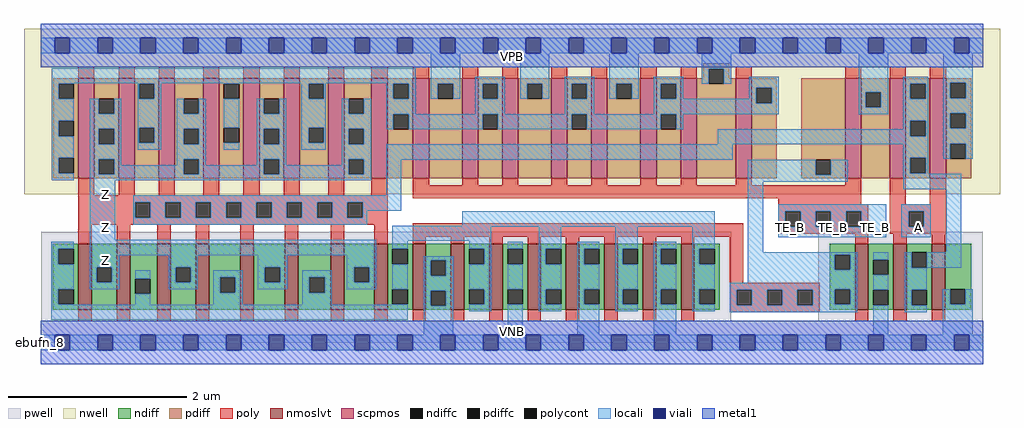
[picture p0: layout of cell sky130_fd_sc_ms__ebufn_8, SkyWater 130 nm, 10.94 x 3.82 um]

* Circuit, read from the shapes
.subckt sky130_fd_sc_ms__ebufn_8 A TE_B VGND VNB VPB VPWR Z
XM1 Z n1 n2 VNB sky130_fd_pr__nfet_01v8_lvt w=0.74 l=0.15 m=8
XM2 VGND n3 n2 VNB sky130_fd_pr__nfet_01v8_lvt w=0.74 l=0.15 m=8
XM3 VGND TE_B n3 VNB sky130_fd_pr__nfet_01v8_lvt w=0.74 l=0.15
XM4 n1 A VGND VNB sky130_fd_pr__nfet_01v8_lvt w=0.74 l=0.15 m=2
XM5 Z n1 n4 VPB sky130_fd_pr__pfet_01v8 w=1.12 l=0.18 m=8
XM6 VPWR TE_B n4 VPB sky130_fd_pr__pfet_01v8 w=1.12 l=0.18 m=8
XM7 VPWR TE_B n3 VPB sky130_fd_pr__pfet_01v8 w=1.12 l=0.18
XM8 n1 A VPWR VPB sky130_fd_pr__pfet_01v8 w=1.12 l=0.18 m=2
.ends

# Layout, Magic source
magic
tech sky130A
magscale 1 2
<< nwell >>
rect -38 332 2150 704
<< pwell >>
rect 1 49 1548 248
rect 1742 49 2111 248
rect 0 0 2112 49
<< scpmos >>
rect 84 368 120 592
rect 174 368 210 592
rect 264 368 300 592
rect 364 368 400 592
rect 454 368 490 592
rect 544 368 580 592
rect 644 368 680 592
rect 741 368 777 592
rect 834 368 870 592
rect 944 368 980 592
rect 1034 368 1070 592
rect 1144 368 1180 592
rect 1234 368 1270 592
rect 1344 368 1380 592
rect 1434 368 1470 592
rect 1558 368 1594 592
rect 1803 368 1839 592
rect 1903 368 1939 592
rect 1993 368 2029 592
<< nmoslvt >>
rect 84 74 114 222
rect 170 74 200 222
rect 261 74 291 222
rect 347 74 377 222
rect 447 74 477 222
rect 547 74 577 222
rect 650 74 680 222
rect 747 74 777 222
rect 833 74 863 222
rect 919 74 949 222
rect 1005 74 1035 222
rect 1091 74 1121 222
rect 1177 74 1207 222
rect 1263 74 1293 222
rect 1349 74 1379 222
rect 1435 74 1465 222
rect 1825 74 1855 222
rect 1911 74 1941 222
rect 1997 74 2027 222
<< ndiff >>
rect 27 210 84 222
rect 27 176 39 210
rect 73 176 84 210
rect 27 120 84 176
rect 27 86 39 120
rect 73 86 84 120
rect 27 74 84 86
rect 114 169 170 222
rect 114 135 125 169
rect 159 135 170 169
rect 114 74 170 135
rect 200 143 261 222
rect 200 109 211 143
rect 245 109 261 143
rect 200 74 261 109
rect 291 169 347 222
rect 291 135 302 169
rect 336 135 347 169
rect 291 74 347 135
rect 377 146 447 222
rect 377 112 402 146
rect 436 112 447 146
rect 377 74 447 112
rect 477 169 547 222
rect 477 135 502 169
rect 536 135 547 169
rect 477 74 547 135
rect 577 146 650 222
rect 577 112 602 146
rect 636 112 650 146
rect 577 74 650 112
rect 680 169 747 222
rect 680 135 702 169
rect 736 135 747 169
rect 680 74 747 135
rect 777 210 833 222
rect 777 176 788 210
rect 822 176 833 210
rect 777 120 833 176
rect 777 86 788 120
rect 822 86 833 120
rect 777 74 833 86
rect 863 184 919 222
rect 863 150 874 184
rect 908 150 919 184
rect 863 116 919 150
rect 863 82 874 116
rect 908 82 919 116
rect 863 74 919 82
rect 949 210 1005 222
rect 949 176 960 210
rect 994 176 1005 210
rect 949 120 1005 176
rect 949 86 960 120
rect 994 86 1005 120
rect 949 74 1005 86
rect 1035 210 1091 222
rect 1035 176 1046 210
rect 1080 176 1091 210
rect 1035 120 1091 176
rect 1035 86 1046 120
rect 1080 86 1091 120
rect 1035 74 1091 86
rect 1121 210 1177 222
rect 1121 176 1132 210
rect 1166 176 1177 210
rect 1121 120 1177 176
rect 1121 86 1132 120
rect 1166 86 1177 120
rect 1121 74 1177 86
rect 1207 210 1263 222
rect 1207 176 1218 210
rect 1252 176 1263 210
rect 1207 120 1263 176
rect 1207 86 1218 120
rect 1252 86 1263 120
rect 1207 74 1263 86
rect 1293 210 1349 222
rect 1293 176 1304 210
rect 1338 176 1349 210
rect 1293 120 1349 176
rect 1293 86 1304 120
rect 1338 86 1349 120
rect 1293 74 1349 86
rect 1379 210 1435 222
rect 1379 176 1390 210
rect 1424 176 1435 210
rect 1379 120 1435 176
rect 1379 86 1390 120
rect 1424 86 1435 120
rect 1379 74 1435 86
rect 1465 210 1522 222
rect 1465 176 1476 210
rect 1510 176 1522 210
rect 1465 120 1522 176
rect 1465 86 1476 120
rect 1510 86 1522 120
rect 1465 74 1522 86
rect 1768 197 1825 222
rect 1768 163 1780 197
rect 1814 163 1825 197
rect 1768 120 1825 163
rect 1768 86 1780 120
rect 1814 86 1825 120
rect 1768 74 1825 86
rect 1855 186 1911 222
rect 1855 152 1866 186
rect 1900 152 1911 186
rect 1855 118 1911 152
rect 1855 84 1866 118
rect 1900 84 1911 118
rect 1855 74 1911 84
rect 1941 202 1997 222
rect 1941 168 1952 202
rect 1986 168 1997 202
rect 1941 118 1997 168
rect 1941 84 1952 118
rect 1986 84 1997 118
rect 1941 74 1997 84
rect 2027 120 2085 222
rect 2027 86 2038 120
rect 2072 86 2085 120
rect 2027 74 2085 86
<< pdiff >>
rect 1485 614 1543 626
rect 1485 592 1497 614
rect 28 580 84 592
rect 28 546 40 580
rect 74 546 84 580
rect 28 497 84 546
rect 28 463 40 497
rect 74 463 84 497
rect 28 414 84 463
rect 28 380 40 414
rect 74 380 84 414
rect 28 368 84 380
rect 120 547 174 592
rect 120 513 130 547
rect 164 513 174 547
rect 120 479 174 513
rect 120 445 130 479
rect 164 445 174 479
rect 120 411 174 445
rect 120 377 130 411
rect 164 377 174 411
rect 120 368 174 377
rect 210 580 264 592
rect 210 546 220 580
rect 254 546 264 580
rect 210 482 264 546
rect 210 448 220 482
rect 254 448 264 482
rect 210 368 264 448
rect 300 547 364 592
rect 300 513 320 547
rect 354 513 364 547
rect 300 479 364 513
rect 300 445 320 479
rect 354 445 364 479
rect 300 411 364 445
rect 300 377 320 411
rect 354 377 364 411
rect 300 368 364 377
rect 400 580 454 592
rect 400 546 410 580
rect 444 546 454 580
rect 400 482 454 546
rect 400 448 410 482
rect 444 448 454 482
rect 400 368 454 448
rect 490 547 544 592
rect 490 513 500 547
rect 534 513 544 547
rect 490 479 544 513
rect 490 445 500 479
rect 534 445 544 479
rect 490 411 544 445
rect 490 377 500 411
rect 534 377 544 411
rect 490 368 544 377
rect 580 580 644 592
rect 580 546 600 580
rect 634 546 644 580
rect 580 482 644 546
rect 580 448 600 482
rect 634 448 644 482
rect 580 368 644 448
rect 680 547 741 592
rect 680 513 690 547
rect 724 513 741 547
rect 680 479 741 513
rect 680 445 690 479
rect 724 445 741 479
rect 680 411 741 445
rect 680 377 690 411
rect 724 377 741 411
rect 680 368 741 377
rect 777 580 834 592
rect 777 546 790 580
rect 824 546 834 580
rect 777 512 834 546
rect 777 478 790 512
rect 824 478 834 512
rect 777 368 834 478
rect 870 580 944 592
rect 870 546 890 580
rect 924 546 944 580
rect 870 368 944 546
rect 980 580 1034 592
rect 980 546 990 580
rect 1024 546 1034 580
rect 980 512 1034 546
rect 980 478 990 512
rect 1024 478 1034 512
rect 980 368 1034 478
rect 1070 580 1144 592
rect 1070 546 1090 580
rect 1124 546 1144 580
rect 1070 368 1144 546
rect 1180 580 1234 592
rect 1180 546 1190 580
rect 1224 546 1234 580
rect 1180 512 1234 546
rect 1180 478 1190 512
rect 1224 478 1234 512
rect 1180 368 1234 478
rect 1270 580 1344 592
rect 1270 546 1290 580
rect 1324 546 1344 580
rect 1270 368 1344 546
rect 1380 580 1434 592
rect 1380 546 1390 580
rect 1424 546 1434 580
rect 1380 512 1434 546
rect 1380 478 1390 512
rect 1424 478 1434 512
rect 1380 368 1434 478
rect 1470 580 1497 592
rect 1531 592 1543 614
rect 1531 580 1558 592
rect 1470 368 1558 580
rect 1594 571 1650 592
rect 1594 537 1604 571
rect 1638 537 1650 571
rect 1594 368 1650 537
rect 1704 410 1803 592
rect 1704 376 1737 410
rect 1771 376 1803 410
rect 1704 368 1803 376
rect 1839 561 1903 592
rect 1839 527 1849 561
rect 1883 527 1903 561
rect 1839 368 1903 527
rect 1939 580 1993 592
rect 1939 546 1949 580
rect 1983 546 1993 580
rect 1939 497 1993 546
rect 1939 463 1949 497
rect 1983 463 1993 497
rect 1939 414 1993 463
rect 1939 380 1949 414
rect 1983 380 1993 414
rect 1939 368 1993 380
rect 2029 582 2085 592
rect 2029 548 2039 582
rect 2073 548 2085 582
rect 2029 514 2085 548
rect 2029 480 2039 514
rect 2073 480 2085 514
rect 2029 446 2085 480
rect 2029 412 2039 446
rect 2073 412 2085 446
rect 2029 368 2085 412
<< ndiffc >>
rect 39 176 73 210
rect 39 86 73 120
rect 125 135 159 169
rect 211 109 245 143
rect 302 135 336 169
rect 402 112 436 146
rect 502 135 536 169
rect 602 112 636 146
rect 702 135 736 169
rect 788 176 822 210
rect 788 86 822 120
rect 874 150 908 184
rect 874 82 908 116
rect 960 176 994 210
rect 960 86 994 120
rect 1046 176 1080 210
rect 1046 86 1080 120
rect 1132 176 1166 210
rect 1132 86 1166 120
rect 1218 176 1252 210
rect 1218 86 1252 120
rect 1304 176 1338 210
rect 1304 86 1338 120
rect 1390 176 1424 210
rect 1390 86 1424 120
rect 1476 176 1510 210
rect 1476 86 1510 120
rect 1780 163 1814 197
rect 1780 86 1814 120
rect 1866 152 1900 186
rect 1866 84 1900 118
rect 1952 168 1986 202
rect 1952 84 1986 118
rect 2038 86 2072 120
<< pdiffc >>
rect 40 546 74 580
rect 40 463 74 497
rect 40 380 74 414
rect 130 513 164 547
rect 130 445 164 479
rect 130 377 164 411
rect 220 546 254 580
rect 220 448 254 482
rect 320 513 354 547
rect 320 445 354 479
rect 320 377 354 411
rect 410 546 444 580
rect 410 448 444 482
rect 500 513 534 547
rect 500 445 534 479
rect 500 377 534 411
rect 600 546 634 580
rect 600 448 634 482
rect 690 513 724 547
rect 690 445 724 479
rect 690 377 724 411
rect 790 546 824 580
rect 790 478 824 512
rect 890 546 924 580
rect 990 546 1024 580
rect 990 478 1024 512
rect 1090 546 1124 580
rect 1190 546 1224 580
rect 1190 478 1224 512
rect 1290 546 1324 580
rect 1390 546 1424 580
rect 1390 478 1424 512
rect 1497 580 1531 614
rect 1604 537 1638 571
rect 1737 376 1771 410
rect 1849 527 1883 561
rect 1949 546 1983 580
rect 1949 463 1983 497
rect 1949 380 1983 414
rect 2039 548 2073 582
rect 2039 480 2073 514
rect 2039 412 2073 446
<< poly >>
rect 84 592 120 618
rect 174 592 210 618
rect 264 592 300 618
rect 364 592 400 618
rect 454 592 490 618
rect 544 592 580 618
rect 644 592 680 618
rect 741 592 777 618
rect 834 592 870 618
rect 944 592 980 618
rect 1034 592 1070 618
rect 1144 592 1180 618
rect 1234 592 1270 618
rect 1344 592 1380 618
rect 1434 592 1470 618
rect 1558 592 1594 618
rect 1803 592 1839 618
rect 1903 592 1939 618
rect 1993 592 2029 618
rect 84 330 120 368
rect 174 330 210 368
rect 264 330 300 368
rect 364 330 400 368
rect 454 330 490 368
rect 544 330 580 368
rect 644 330 680 368
rect 741 330 777 368
rect 84 314 777 330
rect 834 353 870 368
rect 944 353 980 368
rect 1034 353 1070 368
rect 1144 353 1180 368
rect 1234 353 1270 368
rect 1344 353 1380 368
rect 1434 353 1470 368
rect 1558 353 1594 368
rect 1803 353 1839 368
rect 834 323 1839 353
rect 84 280 211 314
rect 245 280 279 314
rect 313 280 347 314
rect 381 280 415 314
rect 449 280 483 314
rect 517 280 551 314
rect 585 280 619 314
rect 653 280 687 314
rect 721 280 777 314
rect 84 264 777 280
rect 1653 310 1839 323
rect 1903 310 1939 368
rect 1993 310 2029 368
rect 1653 294 1855 310
rect 84 222 114 264
rect 170 222 200 264
rect 261 222 291 264
rect 347 222 377 264
rect 447 222 477 264
rect 547 222 577 264
rect 650 222 680 264
rect 747 222 777 264
rect 833 237 1574 267
rect 1653 260 1669 294
rect 1703 260 1737 294
rect 1771 260 1805 294
rect 1839 260 1855 294
rect 1653 244 1855 260
rect 1903 294 2029 310
rect 1903 260 1945 294
rect 1979 260 2029 294
rect 1903 244 2029 260
rect 833 222 863 237
rect 919 222 949 237
rect 1005 222 1035 237
rect 1091 222 1121 237
rect 1177 222 1207 237
rect 1263 222 1293 237
rect 1349 222 1379 237
rect 1435 222 1465 237
rect 1544 134 1574 237
rect 1825 222 1855 244
rect 1911 222 1941 244
rect 1997 222 2027 244
rect 1544 118 1746 134
rect 1544 84 1560 118
rect 1594 84 1628 118
rect 1662 84 1696 118
rect 1730 84 1746 118
rect 84 48 114 74
rect 170 48 200 74
rect 261 48 291 74
rect 347 48 377 74
rect 447 48 477 74
rect 547 48 577 74
rect 650 48 680 74
rect 747 48 777 74
rect 833 48 863 74
rect 919 48 949 74
rect 1005 48 1035 74
rect 1091 48 1121 74
rect 1177 48 1207 74
rect 1263 48 1293 74
rect 1349 48 1379 74
rect 1435 48 1465 74
rect 1544 68 1746 84
rect 1825 48 1855 74
rect 1911 48 1941 74
rect 1997 48 2027 74
<< polycont >>
rect 211 280 245 314
rect 279 280 313 314
rect 347 280 381 314
rect 415 280 449 314
rect 483 280 517 314
rect 551 280 585 314
rect 619 280 653 314
rect 687 280 721 314
rect 1669 260 1703 294
rect 1737 260 1771 294
rect 1805 260 1839 294
rect 1945 260 1979 294
rect 1560 84 1594 118
rect 1628 84 1662 118
rect 1696 84 1730 118
<< locali >>
rect 0 649 31 683
rect 65 649 127 683
rect 161 649 223 683
rect 257 649 319 683
rect 353 649 415 683
rect 449 649 511 683
rect 545 649 607 683
rect 641 649 703 683
rect 737 649 799 683
rect 833 649 895 683
rect 929 649 991 683
rect 1025 649 1087 683
rect 1121 649 1183 683
rect 1217 649 1279 683
rect 1313 649 1375 683
rect 1409 649 1471 683
rect 1505 649 1567 683
rect 1601 649 1663 683
rect 1697 649 1759 683
rect 1793 649 1855 683
rect 1889 649 1951 683
rect 1985 649 2047 683
rect 2081 649 2112 683
rect 24 581 840 615
rect 24 580 74 581
rect 24 546 40 580
rect 217 580 270 581
rect 24 497 74 546
rect 24 463 40 497
rect 24 414 74 463
rect 24 380 40 414
rect 24 364 74 380
rect 109 513 130 547
rect 164 513 180 547
rect 109 479 180 513
rect 109 445 130 479
rect 164 445 180 479
rect 109 411 180 445
rect 217 546 220 580
rect 254 546 270 580
rect 410 580 444 581
rect 217 482 270 546
rect 217 448 220 482
rect 254 448 270 482
rect 217 432 270 448
rect 304 513 320 547
rect 354 513 370 547
rect 304 479 370 513
rect 304 445 320 479
rect 354 445 370 479
rect 109 377 130 411
rect 164 398 180 411
rect 304 411 370 445
rect 584 580 638 581
rect 410 482 444 546
rect 410 432 444 448
rect 484 513 500 547
rect 534 513 550 547
rect 484 479 550 513
rect 484 445 500 479
rect 534 445 550 479
rect 304 398 320 411
rect 164 377 320 398
rect 354 398 370 411
rect 484 411 550 445
rect 584 546 600 580
rect 634 546 638 580
rect 774 580 840 581
rect 584 482 638 546
rect 584 448 600 482
rect 634 448 638 482
rect 584 432 638 448
rect 674 513 690 547
rect 724 513 740 547
rect 674 479 740 513
rect 674 445 690 479
rect 724 445 740 479
rect 774 546 790 580
rect 824 546 840 580
rect 874 580 940 649
rect 874 546 890 580
rect 924 546 940 580
rect 974 580 1040 596
rect 974 546 990 580
rect 1024 546 1040 580
rect 1074 580 1140 649
rect 1074 546 1090 580
rect 1124 546 1140 580
rect 1174 580 1240 596
rect 1174 546 1190 580
rect 1224 546 1240 580
rect 1274 580 1340 649
rect 1481 614 1547 649
rect 1274 546 1290 580
rect 1324 546 1340 580
rect 1374 580 1440 596
rect 1481 580 1497 614
rect 1531 580 1547 614
rect 1374 546 1390 580
rect 1424 546 1440 580
rect 1588 571 1654 596
rect 1588 546 1604 571
rect 774 512 840 546
rect 974 512 1040 546
rect 1174 512 1240 546
rect 1374 537 1604 546
rect 1638 537 1654 571
rect 1374 512 1654 537
rect 1833 561 1899 649
rect 1833 527 1849 561
rect 1883 527 1899 561
rect 1833 512 1899 527
rect 1933 580 1989 596
rect 1933 546 1949 580
rect 1983 546 1989 580
rect 774 478 790 512
rect 824 478 990 512
rect 1024 478 1190 512
rect 1224 478 1390 512
rect 1424 478 1440 512
rect 1933 497 1989 546
rect 1933 478 1949 497
rect 484 398 500 411
rect 354 377 500 398
rect 534 398 550 411
rect 674 411 740 445
rect 1517 463 1949 478
rect 1983 463 1989 497
rect 1517 444 1989 463
rect 674 398 690 411
rect 534 377 690 398
rect 724 377 740 411
rect 109 364 740 377
rect 774 410 1551 444
rect 1933 414 1989 444
rect 109 230 167 364
rect 774 330 808 410
rect 207 314 808 330
rect 207 280 211 314
rect 245 280 279 314
rect 313 280 347 314
rect 381 280 415 314
rect 449 280 483 314
rect 517 280 551 314
rect 585 280 619 314
rect 653 280 687 314
rect 721 296 808 314
rect 1585 376 1737 410
rect 1771 376 1809 410
rect 1585 360 1809 376
rect 1933 380 1949 414
rect 1983 380 1989 414
rect 2023 582 2089 649
rect 2023 548 2039 582
rect 2073 548 2089 582
rect 2023 514 2089 548
rect 2023 480 2039 514
rect 2073 480 2089 514
rect 2023 446 2089 480
rect 2023 412 2039 446
rect 2073 412 2089 446
rect 1933 378 1989 380
rect 721 280 731 296
rect 207 264 731 280
rect 944 262 1510 294
rect 788 260 1510 262
rect 23 210 73 226
rect 23 176 39 210
rect 23 120 73 176
rect 23 86 39 120
rect 109 196 752 230
rect 109 169 175 196
rect 109 135 125 169
rect 159 135 175 169
rect 286 169 352 196
rect 109 119 175 135
rect 211 143 245 162
rect 23 85 73 86
rect 286 135 302 169
rect 336 135 352 169
rect 486 169 552 196
rect 286 119 352 135
rect 386 146 452 162
rect 211 85 245 109
rect 386 112 402 146
rect 436 112 452 146
rect 486 135 502 169
rect 536 135 552 169
rect 686 169 752 196
rect 486 119 552 135
rect 586 146 652 162
rect 386 85 452 112
rect 586 112 602 146
rect 636 112 652 146
rect 686 135 702 169
rect 736 135 752 169
rect 686 119 752 135
rect 788 228 1010 260
rect 788 210 822 228
rect 960 210 1010 228
rect 788 120 822 176
rect 586 85 652 112
rect 788 85 822 86
rect 23 51 822 85
rect 858 184 924 194
rect 858 150 874 184
rect 908 150 924 184
rect 858 116 924 150
rect 858 82 874 116
rect 908 82 924 116
rect 858 17 924 82
rect 994 176 1010 210
rect 960 120 1010 176
rect 994 86 1010 120
rect 960 70 1010 86
rect 1046 210 1080 226
rect 1046 120 1080 176
rect 1046 17 1080 86
rect 1116 210 1166 260
rect 1116 176 1132 210
rect 1116 120 1166 176
rect 1116 86 1132 120
rect 1116 70 1166 86
rect 1202 210 1252 226
rect 1202 176 1218 210
rect 1202 120 1252 176
rect 1202 86 1218 120
rect 1202 17 1252 86
rect 1288 210 1338 260
rect 1288 176 1304 210
rect 1288 120 1338 176
rect 1288 86 1304 120
rect 1288 70 1338 86
rect 1374 210 1424 226
rect 1374 176 1390 210
rect 1374 120 1424 176
rect 1374 86 1390 120
rect 1374 17 1424 86
rect 1460 210 1510 260
rect 1460 176 1476 210
rect 1460 120 1510 176
rect 1585 202 1619 360
rect 1933 344 2063 378
rect 1653 294 1895 310
rect 1653 260 1669 294
rect 1703 260 1737 294
rect 1771 260 1805 294
rect 1839 260 1895 294
rect 1653 236 1895 260
rect 1929 294 1995 310
rect 1929 260 1945 294
rect 1979 260 1995 294
rect 1929 236 1995 260
rect 2029 202 2063 344
rect 1585 197 1830 202
rect 1585 163 1780 197
rect 1814 163 1830 197
rect 1585 134 1830 163
rect 1460 86 1476 120
rect 1460 70 1510 86
rect 1544 120 1830 134
rect 1544 118 1780 120
rect 1544 84 1560 118
rect 1594 84 1628 118
rect 1662 84 1696 118
rect 1730 86 1780 118
rect 1814 86 1830 120
rect 1730 84 1830 86
rect 1544 68 1830 84
rect 1866 186 1900 202
rect 1866 118 1900 152
rect 1866 17 1900 84
rect 1936 168 1952 202
rect 1986 168 2063 202
rect 1936 118 1986 168
rect 1936 84 1952 118
rect 1936 68 1986 84
rect 2022 86 2038 120
rect 2072 86 2089 120
rect 2022 17 2089 86
rect 0 -17 31 17
rect 65 -17 127 17
rect 161 -17 223 17
rect 257 -17 319 17
rect 353 -17 415 17
rect 449 -17 511 17
rect 545 -17 607 17
rect 641 -17 703 17
rect 737 -17 799 17
rect 833 -17 895 17
rect 929 -17 991 17
rect 1025 -17 1087 17
rect 1121 -17 1183 17
rect 1217 -17 1279 17
rect 1313 -17 1375 17
rect 1409 -17 1471 17
rect 1505 -17 1567 17
rect 1601 -17 1663 17
rect 1697 -17 1759 17
rect 1793 -17 1855 17
rect 1889 -17 1951 17
rect 1985 -17 2047 17
rect 2081 -17 2112 17
<< viali >>
rect 31 649 65 683
rect 127 649 161 683
rect 223 649 257 683
rect 319 649 353 683
rect 415 649 449 683
rect 511 649 545 683
rect 607 649 641 683
rect 703 649 737 683
rect 799 649 833 683
rect 895 649 929 683
rect 991 649 1025 683
rect 1087 649 1121 683
rect 1183 649 1217 683
rect 1279 649 1313 683
rect 1375 649 1409 683
rect 1471 649 1505 683
rect 1567 649 1601 683
rect 1663 649 1697 683
rect 1759 649 1793 683
rect 1855 649 1889 683
rect 1951 649 1985 683
rect 2047 649 2081 683
rect 31 -17 65 17
rect 127 -17 161 17
rect 223 -17 257 17
rect 319 -17 353 17
rect 415 -17 449 17
rect 511 -17 545 17
rect 607 -17 641 17
rect 703 -17 737 17
rect 799 -17 833 17
rect 895 -17 929 17
rect 991 -17 1025 17
rect 1087 -17 1121 17
rect 1183 -17 1217 17
rect 1279 -17 1313 17
rect 1375 -17 1409 17
rect 1471 -17 1505 17
rect 1567 -17 1601 17
rect 1663 -17 1697 17
rect 1759 -17 1793 17
rect 1855 -17 1889 17
rect 1951 -17 1985 17
rect 2047 -17 2081 17
<< metal1 >>
rect 0 683 2112 715
rect 0 649 31 683
rect 65 649 127 683
rect 161 649 223 683
rect 257 649 319 683
rect 353 649 415 683
rect 449 649 511 683
rect 545 649 607 683
rect 641 649 703 683
rect 737 649 799 683
rect 833 649 895 683
rect 929 649 991 683
rect 1025 649 1087 683
rect 1121 649 1183 683
rect 1217 649 1279 683
rect 1313 649 1375 683
rect 1409 649 1471 683
rect 1505 649 1567 683
rect 1601 649 1663 683
rect 1697 649 1759 683
rect 1793 649 1855 683
rect 1889 649 1951 683
rect 1985 649 2047 683
rect 2081 649 2112 683
rect 0 617 2112 649
rect 0 17 2112 49
rect 0 -17 31 17
rect 65 -17 127 17
rect 161 -17 223 17
rect 257 -17 319 17
rect 353 -17 415 17
rect 449 -17 511 17
rect 545 -17 607 17
rect 641 -17 703 17
rect 737 -17 799 17
rect 833 -17 895 17
rect 929 -17 991 17
rect 1025 -17 1087 17
rect 1121 -17 1183 17
rect 1217 -17 1279 17
rect 1313 -17 1375 17
rect 1409 -17 1471 17
rect 1505 -17 1567 17
rect 1601 -17 1663 17
rect 1697 -17 1759 17
rect 1793 -17 1855 17
rect 1889 -17 1951 17
rect 1985 -17 2047 17
rect 2081 -17 2112 17
rect 0 -49 2112 -17
<< labels >>
flabel pwell s 0 0 2112 49 0 FreeSans 200 0 0 0 VNB
port 4 nsew ground bidirectional
flabel nwell s 0 617 2112 666 0 FreeSans 200 0 0 0 VPB
port 5 nsew power bidirectional
rlabel comment s 0 0 0 0 4 ebufn_8
flabel metal1 s 0 617 2112 666 0 FreeSans 340 0 0 0 VPWR
port 6 nsew power bidirectional
flabel metal1 s 0 0 2112 49 0 FreeSans 340 0 0 0 VGND
port 3 nsew ground bidirectional
flabel locali s 1663 242 1697 276 0 FreeSans 340 0 0 0 TE_B
port 2 nsew signal input
flabel locali s 1759 242 1793 276 0 FreeSans 340 0 0 0 TE_B
port 2 nsew signal input
flabel locali s 1855 242 1889 276 0 FreeSans 340 0 0 0 TE_B
port 2 nsew signal input
flabel locali s 1951 242 1985 276 0 FreeSans 340 0 0 0 A
port 1 nsew signal input
flabel locali s 127 168 161 202 0 FreeSans 340 0 0 0 Z
port 7 nsew signal output
flabel locali s 127 242 161 276 0 FreeSans 340 0 0 0 Z
port 7 nsew signal output
flabel locali s 127 316 161 350 0 FreeSans 340 0 0 0 Z
port 7 nsew signal output
<< properties >>
string LEFsite unit
string LEFclass CORE
string FIXED_BBOX 0 0 2112 666
string GDS_FILE $PDKPATH/libs.ref/sky130_fd_sc_ms/gds/sky130_fd_sc_ms.gds
string LEFsymmetry X Y
string GDS_END 2139388
string GDS_START 2124966
<< end >>
